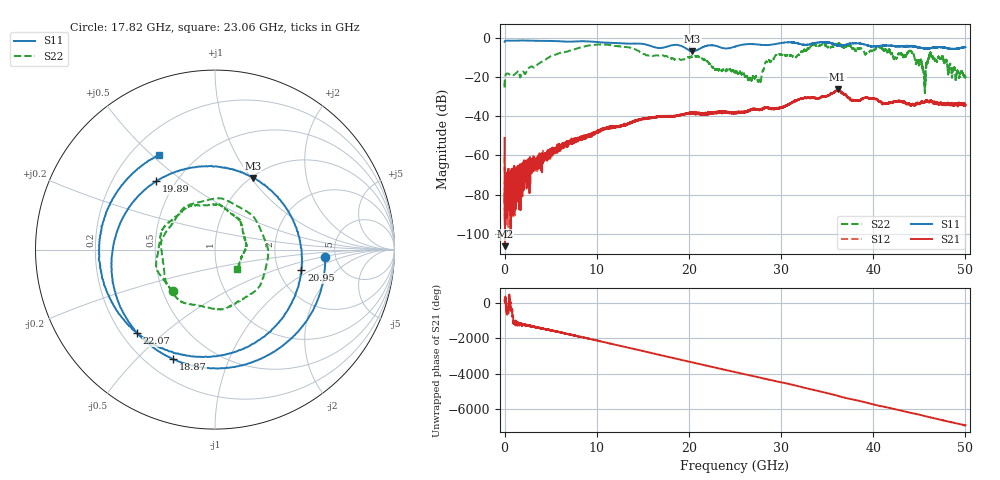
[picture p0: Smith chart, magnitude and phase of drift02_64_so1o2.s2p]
!Created with skrf (http://scikit-rf.org).
# Hz S RI R 50.0
!freq ReS11 ImS11 ReS21 ImS21 ReS12 ImS12 ReS22 ImS22
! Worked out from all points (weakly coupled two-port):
!   10001 points, 300 kHz to 50 GHz, reference 50 ohm
!   highest |S21| = -26.27 dB at 36.14 GHz (marker M1); lowest = -106.4 dB at 45.3 MHz (marker M2)
!   lowest |S11| = -6.9 dB at 20.38 GHz (marker M3), VSWR 2.64, Z = 50.9 + j51 ohm
!   |S11| at or under -10 dB: nowhere
!   |S22| runs from -28.8 to -2.6 dB; largest |S21 - S12| = 0.0055
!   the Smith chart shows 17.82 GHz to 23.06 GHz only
!   S11 on the Smith chart (normalised r, x): 17.82 GHz: 4.14, -0.51; 18.87 GHz: 0.30, -0.65; 19.89 GHz: 0.39, +0.40; 20.95 GHz: 2.68, -0.81; 22.07 GHz: 0.26, -0.41; 23.06 GHz: 0.31, +0.53
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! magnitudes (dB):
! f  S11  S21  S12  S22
! 300 kHz  -2.0  -51.1  -60.6  -21.7
! 45.3 MHz  -1.7  -106.4  -77.5  -21.3
! 265.3 MHz  -1.4  -80.6  -75.7  -18.2
! 8.335 GHz  -1.7  -51.5  -51.8  -4.8
! 16.67 GHz  -5.2  -40.3  -40.4  -9.0
! 17.82 GHz  -4.2  -39.9  -39.9  -9.7
! 18.87 GHz  -3.7  -39.7  -39.7  -10.9
! 19.89 GHz  -6.0  -38.6  -38.8  -10.0
! 20.38 GHz  -6.9  -38.3  -38.6  -9.7
! 20.95 GHz  -6.1  -38.6  -38.4  -9.3
! 22.07 GHz  -3.9  -38.3  -38.8  -12.4
! 23.06 GHz  -4.3  -38.1  -38.1  -15.8
! 25 GHz  -4.5  -38.1  -38.4  -17.8
! 27.63 GHz  -3.5  -36.8  -36.6  -21.4
! 29.54 GHz  -3.1  -35.9  -36.0  -8.8
! 33.34 GHz  -3.0  -30.6  -30.5  -3.8
! 36.14 GHz  -3.9  -26.3  -26.9  -3.1
! 41.67 GHz  -3.9  -33.2  -33.3  -6.1
! 44.13 GHz  -4.2  -34.7  -34.6  -7.0
! 45.51 GHz  -5.4  -32.7  -33.1  -18.0
! 47.33 GHz  -4.8  -33.2  -33.2  -10.7
! 50 GHz  -4.7  -34.3  -34.2  -20.3
